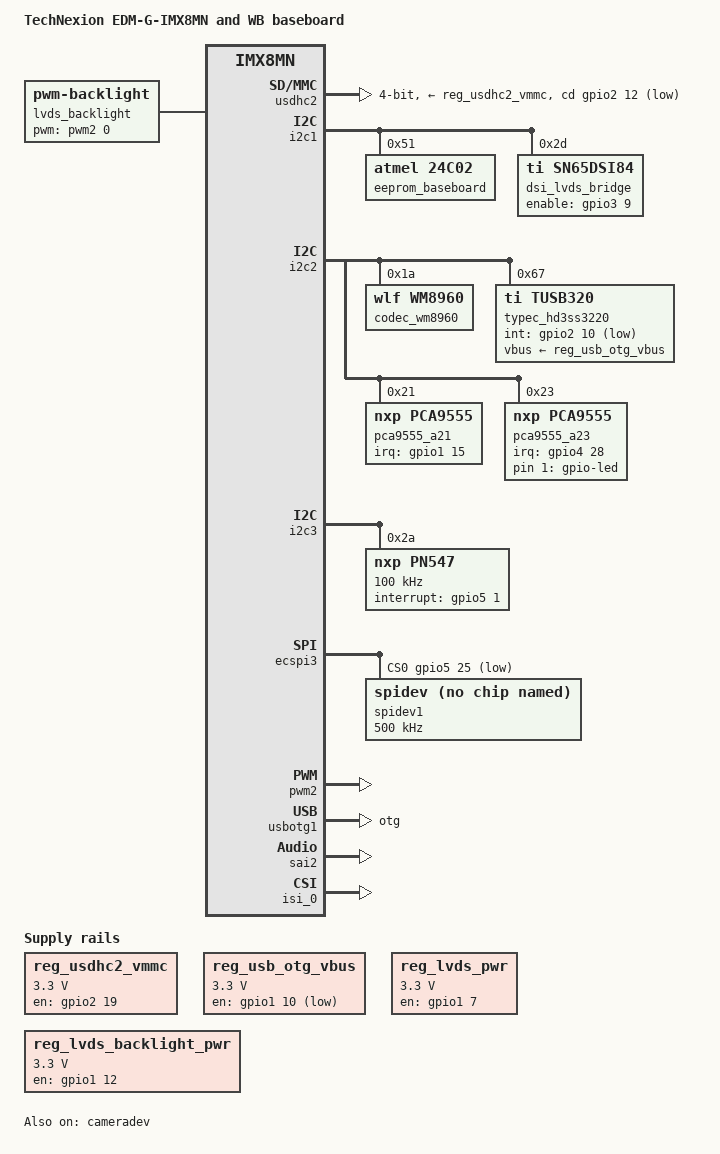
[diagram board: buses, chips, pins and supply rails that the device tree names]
// SPDX-License-Identifier: (GPL-2.0+ OR MIT)
/*
 * Copyright 2021 TechNexion Ltd.
 *
 * Author: Andy Lin <andy.lin@technexion.com>
 *
 */

/dts-v1/;

#include "imx8mn-edm-g.dtsi"

/ {
	model = "TechNexion EDM-G-IMX8MN and WB baseboard";
	compatible = "fsl,imx8mn-edm-g", "fsl,imx8mn";

	leds {
		compatible = "gpio-leds";
		pinctrl-names = "default";

		led {
			label = "gpio-led";
			gpios = <&pca9555_a23 1 GPIO_ACTIVE_HIGH>;
			linux,default-trigger = "heartbeat";
		};
	};

	regulators {
		reg_usdhc2_vmmc: regulator-usdhc2 {
			compatible = "regulator-fixed";
			pinctrl-names = "default";
			pinctrl-0 = <&pinctrl_reg_usdhc2_vmmc>;
			regulator-name = "VSD_3V3";
			regulator-min-microvolt = <3300000>;
			regulator-max-microvolt = <3300000>;
			gpio = <&gpio2 19 GPIO_ACTIVE_HIGH>;
			enable-active-high;
			startup-delay-us = <100>;
			off-on-delay-us = <12000>;
		};

		reg_usb_otg_vbus: usb_otg_vbus {
			pinctrl-names = "default";
			pinctrl-0 = <&pinctrl_otg_vbus>;
			compatible = "regulator-fixed";
			regulator-name = "usb_otg_vbus";
			regulator-min-microvolt = <3300000>;
			regulator-max-microvolt = <3300000>;
			gpio = <&gpio1 10 GPIO_ACTIVE_LOW>;
			enable-active-low;
		};

		reg_lvds_pwr: regulator_lvdspwr {
			pinctrl-names = "default";
			pinctrl-0 = <&pinctrl_lvds0_pwr>;
			compatible = "regulator-fixed";
			regulator-name = "lvds0_vdden";
			regulator-min-microvolt = <3300000>;
			regulator-max-microvolt = <3300000>;
			gpio = <&gpio1 7 GPIO_ACTIVE_HIGH>;
			enable-active-high;
			regulator-always-on;
			status = "okay";
		};
		reg_lvds_backlight_pwr: regulator_lvdsblpwr {
			pinctrl-names = "default";
			pinctrl-0 = <&pinctrl_lvds0_backlight_pwr>;
			compatible = "regulator-fixed";
			regulator-name = "lvds0_bl_en";
			regulator-min-microvolt = <3300000>;
			regulator-max-microvolt = <3300000>;
			gpio = <&gpio1 12 GPIO_ACTIVE_HIGH>;
			enable-active-high;
			regulator-always-on;
			status = "okay";
		};
	};

	lvds_backlight: lvds_backlight {
		compatible = "pwm-backlight";
		pwms = <&pwm2 0 50000>;
		brightness-levels = <0 36 72 108 144 180 216 255>;
		default-brightness-level = <6>;
		status = "okay";
	};

	sound_wm8960: sound-wm8960 {
		compatible = "fsl,imx-audio-wm8960";
		model = "wm8960-audio";
		cpu-dai = <&sai2>;
		codec-master;
		audio-codec = <&codec_wm8960>;
		audio-routing =
			"Headphone Jack", "HP_L",
			"Headphone Jack", "HP_R",
			"Ext Spk", "SPK_LP",
			"Ext Spk", "SPK_LN",
			"Ext Spk", "SPK_RP",
			"Ext Spk", "SPK_RN",
			"LINPUT1", "Main MIC",
			"RINPUT1", "Main MIC",
			"Main MIC", "MICB";
		/* JD2: hp detect high for headphone*/
		hp-det = <2 0>;
	};
};

&iomuxc {
	imx8mn-edm-g {
		pinctrl_nfc: nfcgrp {
			fsl,pins = <
				MX8MN_IOMUXC_SAI3_TXD_GPIO5_IO1     0x19 /* IRQ */
			>;
		};

		pinctrl_csi_rst: csi1_rst_grp {
			fsl,pins = <
				MX8MN_IOMUXC_GPIO1_IO05_GPIO1_IO5       0x19
				MX8MN_IOMUXC_GPIO1_IO14_CCMSRCGPCMIX_CLKO1  0x59
			>;
		};

		pinctrl_touch_irq: touch_irqgrp {
			fsl,pins = <
				MX8MN_IOMUXC_GPIO1_IO13_GPIO1_IO13		0x41 /* Touch INT */
			>;
		};

		pinctrl_touch_reset: touch_rstgrp {
			fsl,pins = <
				MX8MN_IOMUXC_SAI5_MCLK_GPIO3_IO25		0x41 /* TOUCH_nRST, LVDS1_VDDEN */
			>;
		};
	};
};

&usdhc2 {
	pinctrl-names = "default", "state_100mhz", "state_200mhz";
	pinctrl-0 = <&pinctrl_usdhc2>, <&pinctrl_usdhc2_gpio>;
	pinctrl-1 = <&pinctrl_usdhc2_100mhz>, <&pinctrl_usdhc2_gpio>;
	pinctrl-2 = <&pinctrl_usdhc2_200mhz>, <&pinctrl_usdhc2_gpio>;
	cd-gpios = <&gpio2 12 GPIO_ACTIVE_LOW>;
	bus-width = <4>;
	vmmc-supply = <&reg_usdhc2_vmmc>;
	status = "okay";
};

&i2c1 {
	eeprom_baseboard: eeprom@51 {
		compatible = "atmel,24c02";
		reg = <0x51>;
		pagesize = <16>;
		status = "okay";
	};

	dsi_lvds_bridge: sn65dsi84@2d {
		compatible = "ti,sn65dsi84";
		#gpio-cells = <2>;
		pinctrl-0 = <&pinctrl_mipi_dsi_en>;
		enable-gpios = <&gpio3 9 GPIO_ACTIVE_HIGH>;
		reg = <0x2d>;
	};
};

&i2c2 {
	codec_wm8960: wm8960@1a {
		compatible = "wlf,wm8960";
		reg = <0x1a>;
		#sound-dai-cells = <0>;
		clocks = <&clk IMX8MN_CLK_SAI2>; /* Clock from internal */
		clock-names = "mclk";
		wlf,shared-lrclk;
		wlf,fixed-mclk;
		status = "okay";
	};

	typec_hd3ss3220: hd3ss3220@67 {
		compatible = "ti,tusb320", "ti,hd3ss3220";
		pinctrl-names = "default";
		pinctrl-0 = <&pinctrl_hd3ss3220_irq>;
		reg = <0x67>;
		vbus-supply = <&reg_usb_otg_vbus>;
		tusb320,int-gpio = <&gpio2 10 GPIO_ACTIVE_LOW>;
		tusb320,select-mode = <0>;
		tusb320,dfp-power = <0>;
	};

	pca9555_a21: pca9555@21 {
		compatible = "nxp,pca9555";
		pinctrl-names = "default";
		pinctrl-0 = <&pinctrl_pca9555_a21_irq>;
		reg = <0x21>;
		gpio-controller;
		#gpio-cells = <2>;
		interrupt-controller;
		#interrupt-cells = <2>;
		interrupt-parent = <&gpio1>;
		interrupts = <15 IRQ_TYPE_LEVEL_LOW>;
		status = "okay";
		gpio-line-names = "EXPOSURE_TRIG_IN1", "FLASH_OUT1", "INFO_TRIG_IN1", "CAM_SHUTTER1",
							"XVS1", "PWR1_TIME0", "PWR1_TIME1", "PWR1_TIME2",
							"EXPOSURE_TRIG_IN2", "FLASH_OUT2", "INFO_TRIG_IN2", "CAM_SHUTTER2",
							"XVS2", "PWR2_TIME0", "PWR2_TIME1", "PWR2_TIME2";
	};

	pca9555_a23: pca9555@23 {
		compatible = "nxp,pca9555";
		pinctrl-names = "default";
		pinctrl-0 = <&pinctrl_pca9555_a23_irq>;
		reg = <0x23>;
		gpio-controller;
		#gpio-cells = <2>;
		interrupt-controller;
		#interrupt-cells = <2>;
		interrupt-parent = <&gpio4>;
		interrupts = <28 IRQ_TYPE_LEVEL_LOW>;
		status = "okay";
		gpio-line-names = "M2_DISABLE_N", "LED_EN", "", "",
							"", "", "", "USB_OTG_OC",
							"EXT_GPIO8", "EXT_GPIO9", "", "",
							"", "CSI1_PDB", "CSI2_PDB", "PD_FAULT";
	};

	tevi_ov5640_0: tevi_ov5640_mipi@3c {
		reg = <0x3c>;
		status = "disabled";
	};
};

&i2c3 {
	pn547: pn547@2a {
		compatible = "nxp,pn547";
		reg = <0x2a>;
		pinctrl-names = "default";
		pinctrl-0 = <&pinctrl_nfc>;
		clock-frequency = <100000>;
		interrupt-gpios = <&gpio5 1 0>;
		status = "okay";
	};
};

&ecspi3 {
	pinctrl-names = "default";
	pinctrl-0 = <&pinctrl_ecspi3 &pinctrl_ecspi3_cs>;
	fsl,spi-num-chipselects = <1>;
	cs-gpios = <&gpio5 25 GPIO_ACTIVE_LOW>;
	status = "okay";

	spidev1: spi@0 {
		reg = <0>;
		compatible = "rohm,dh2228fv";
		spi-max-frequency = <500000>;
	};
};

&pwm2 { /* LVDS0_BL_PWM */
	pinctrl-names = "default";
	pinctrl-0 = <&pinctrl_lvds0_backlight_pwm>;
	status = "okay";
};

&usbotg1 {
	dr_mode = "otg";
	status = "okay";
};

&sai2 { /* AUD_A */
	#sound-dai-cells = <0>;
	pinctrl-names = "default";
	pinctrl-0 = <&pinctrl_sai2>;
	assigned-clocks = <&clk IMX8MN_AUDIO_PLL1>, <&clk IMX8MN_AUDIO_PLL2>, <&clk IMX8MN_CLK_SAI2>;
	assigned-clock-parents = <0>, <0>, <&clk IMX8MN_AUDIO_PLL1_OUT>;
	assigned-clock-rates = <786432000>, <722534400>, <12288000>;
	status = "okay";
};

&mipi_csi_1 {
	#address-cells = <1>;
	#size-cells = <0>;
	status = "disabled";
};

&cameradev {
	status = "okay";
};

&isi_0 {
	status = "okay";

	cap_device {
		status = "okay";
	};
};

